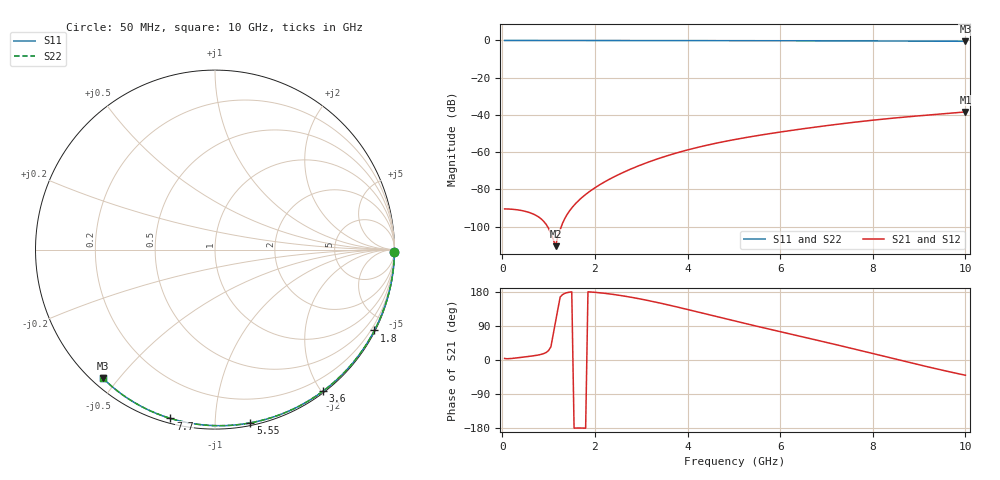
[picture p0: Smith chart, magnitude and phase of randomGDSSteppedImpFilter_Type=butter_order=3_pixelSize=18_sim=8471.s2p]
! freq	dB(S11)	phase(S11)	dB(S12)	phase(S12)
!  dB(S21)	phase(S21)	dB(S22)	phase(S22)
!S-par simulation data
#  GHz  S  DB  R 50
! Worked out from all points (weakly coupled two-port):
!   200 points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, 50 MHz to 10 GHz, reference 50 ohm
!   highest |S21| = -38.42 dB at 10 GHz (marker M1); lowest = -110.6 dB at 1.15 GHz (marker M2)
!   lowest |S11| = -0.4 dB at 10 GHz (marker M3), VSWR 39.31, Z = 1.53 - j22.7 ohm
!   |S11| at or under -10 dB: nowhere
!   |S22| runs from -0.4 to 0.0 dB; largest |S21 - S12| = 0
!   S11 on the Smith chart (normalised r, x): 50 MHz: open; 1.8 GHz: 0.04, -4.19; 3.6 GHz: 0.02, -2.03; 5.55 GHz: 0.02, -1.22; 7.7 GHz: 0.02, -0.77; 10 GHz: 0.03, -0.45
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0.05  -0.00 -0.8  -90.51 4.1  -90.51 4.1  -0.00 -0.8
0.6  -0.01 -9.1  -92.60 9.9  -92.60 9.9  -0.01 -9.1
1.15  -0.02 -17.3  -110.55 101.9  -110.55 101.9  -0.02 -17.3
1.75  -0.03 -26.1  -83.76 -179.6  -83.76 -179.6  -0.03 -26.1
1.8  -0.03 -26.9  -82.75 -179.8  -82.75 -179.8  -0.03 -26.9
1.95  -0.04 -29.1  -80.01 179.1  -80.01 179.1  -0.04 -29.1
2.25  -0.04 -33.4  -75.43 175.4  -75.43 175.4  -0.04 -33.4
2.55  -0.05 -37.7  -71.61 170.3  -71.61 170.3  -0.05 -37.7
2.95  -0.06 -43.4  -67.31 161.8  -67.31 161.8  -0.06 -43.4
3.4  -0.07 -49.8  -63.24 150.4  -63.24 150.4  -0.07 -49.8
3.6  -0.07 -52.5  -61.65 144.9  -61.65 144.9  -0.07 -52.5
3.9  -0.08 -56.7  -59.49 136.2  -59.49 136.2  -0.08 -56.7
4.3  -0.09 -62.1  -56.97 124.4  -56.97 124.4  -0.09 -62.1
4.65  -0.10 -66.8  -55.04 113.9  -55.04 113.9  -0.10 -66.8
5.05  -0.11 -72.0  -53.10 102.0  -53.10 102.0  -0.11 -72.0
5.55  -0.13 -78.5  -50.96 87.5  -50.96 87.5  -0.13 -78.5
6.1  -0.15 -85.4  -48.85 71.9  -48.85 71.9  -0.15 -85.4
6.7  -0.18 -92.8  -46.76 55.0  -46.76 55.0  -0.18 -92.8
7.7  -0.24 -104.8  -43.67 26.0  -43.67 26.0  -0.24 -104.8
8.35  -0.29 -112.4  -41.96 6.6  -41.96 6.6  -0.29 -112.4
9.15  -0.35 -121.5  -40.18 -16.9  -40.18 -16.9  -0.35 -121.5
10  -0.44 -131.1  -38.42 -40.3  -38.42 -40.3  -0.44 -131.1
